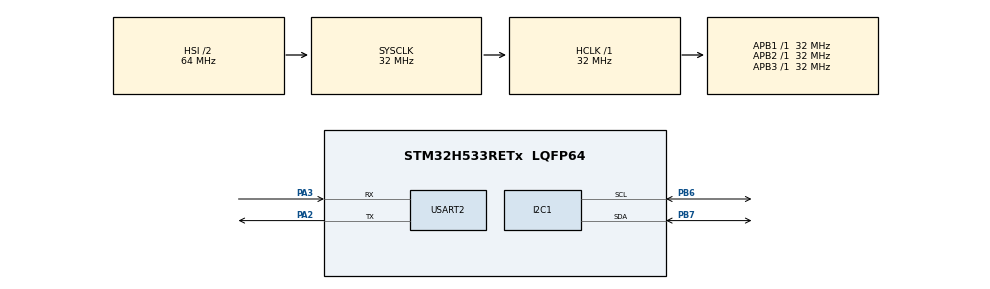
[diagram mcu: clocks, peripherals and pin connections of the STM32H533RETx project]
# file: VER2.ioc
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BOOTPATH.BootPathName=LEGACY
BOOTPATH.UserSelectedBootPath=LEGACY
CORTEX_M33_NS.Number-Cortex_Memory_Protection_Unit_Region0_OTP_RO_AREAS_Settings=MPU_REGION_NUMBER0
CORTEX_M33_NS.default_mode_Activation=1
CORTEX_M33_NS.userName=CORTEX_M33
I2C1.Timing=0x00707CBB
Mcu.Family=STM32H5
Mcu.Name=STM32H533RETx
Mcu.Package=LQFP64
NUCLEO-H533RE.LD4=true
NUCLEO-H533RE.VCP=false
NVIC.PriorityGroup=NVIC_PRIORITYGROUP_4
NVIC.TIM6_IRQn=true\:15\:0\:false\:false\:true\:false\:true\:true
NVIC.TimeBase=TIM6_IRQn
NVIC.TimeBaseIP=TIM6
PA13(JTMS/SWDIO).GPIO_Label=SWDIO
PA13(JTMS/SWDIO).Signal=DEBUG_JTMS-SWDIO
PA14(JTCK/SWCLK).GPIO_Label=SWCLK
PA14(JTCK/SWCLK).Signal=DEBUG_JTCK-SWCLK
PA15(JTDI).GPIO_Label=JTDI
PA15(JTDI).Signal=DEBUG_JTDI
PA2.Mode=Asynchronous
PA2.Signal=USART2_TX
PA3.Mode=Asynchronous
PA3.Signal=USART2_RX
PB3(JTDO/TRACESWO).GPIO_Label=SWO
PB3(JTDO/TRACESWO).Signal=DEBUG_JTDO-SWO
PB6.Mode=I2C
PB6.Signal=I2C1_SCL
PB7.Mode=I2C
PB7.Signal=I2C1_SDA
ProjectManager.HeapSize=0x800
ProjectManager.StackSize=0x800
ProjectManager.TargetToolchain=STM32CubeIDE
RCC.ADCFreq_Value=32000000
RCC.AHBFreq_Value=32000000
RCC.APB1Freq_Value=32000000
RCC.APB1TimFreq_Value=32000000
RCC.APB2Freq_Value=32000000
RCC.APB2TimFreq_Value=32000000
RCC.APB3Freq_Value=32000000
RCC.CSI_VALUE=4000000
RCC.CortexFreq_Value=32000000
RCC.EPOD_VALUE=4000000
RCC.HCLKFreq_Value=32000000
RCC.HSE_VALUE=25000000
RCC.HSI48_VALUE=48000000
RCC.HSI_VALUE=64000000
RCC.LSE_VALUE=32768
RCC.LSIRC_VALUE=32000
RCC.SYSCLKFreq_VALUE=32000000
RCC.USBFreq_Value=48000000
RCC.VCOOutputFreq_Value=516000000
STMicroelectronics.X-CUBE-AI.10.2.1.ActivationBufferSizeList=2084
STMicroelectronics.X-CUBE-AI.10.2.1.ActivationBuffers=pool0
STMicroelectronics.X-CUBE-AI.10.2.1.ActivationNames=pool0
STMicroelectronics.X-CUBE-AI.10.2.1.ActivationSizes=AI_NETWORK_DATA_ACTIVATION_1_SIZE
STMicroelectronics.X-CUBE-AI.10.2.1.HeapSize=0x800
STMicroelectronics.X-CUBE-AI.10.2.1.InternalRamActivationBufferMaxSize=AI_NETWORK_DATA_ACTIVATIONS_SIZE
STMicroelectronics.X-CUBE-AI.10.2.1.LatestDirectoryUsed-c2cbab47468941fe8e62ddce6ba15c5f00c6b9ef46d5aaf54abfcf6c1124a06f=/Users/dinapuspitasari/Downloads/ds/models
STMicroelectronics.X-CUBE-AI.10.2.1.MaximumNumberOfInputLayer=1
STMicroelectronics.X-CUBE-AI.10.2.1.MaximumNumberOfOutputLayer=1
STMicroelectronics.X-CUBE-AI.10.2.1.MaximumSizeOfInputLayer=1
STMicroelectronics.X-CUBE-AI.10.2.1.MaximumSizeOfOutputLayer=1
STMicroelectronics.X-CUBE-AI.10.2.1.ModelActualCompression-c2cbab47468941fe8e62ddce6ba15c5f00c6b9ef46d5aaf54abfcf6c1124a06f=0.0
STMicroelectronics.X-CUBE-AI.10.2.1.ModelCompression-c2cbab47468941fe8e62ddce6ba15c5f00c6b9ef46d5aaf54abfcf6c1124a06f=None
STMicroelectronics.X-CUBE-AI.10.2.1.ModelFlashOccupation-c2cbab47468941fe8e62ddce6ba15c5f00c6b9ef46d5aaf54abfcf6c1124a06f=11924
STMicroelectronics.X-CUBE-AI.10.2.1.ModelHashList=c2cbab47468941fe8e62ddce6ba15c5f00c6b9ef46d5aaf54abfcf6c1124a06f
STMicroelectronics.X-CUBE-AI.10.2.1.ModelKind-c2cbab47468941fe8e62ddce6ba15c5f00c6b9ef46d5aaf54abfcf6c1124a06f=TFLITE
STMicroelectronics.X-CUBE-AI.10.2.1.ModelMacc-c2cbab47468941fe8e62ddce6ba15c5f00c6b9ef46d5aaf54abfcf6c1124a06f=344
STMicroelectronics.X-CUBE-AI.10.2.1.ModelName-c2cbab47468941fe8e62ddce6ba15c5f00c6b9ef46d5aaf54abfcf6c1124a06f=network
STMicroelectronics.X-CUBE-AI.10.2.1.ModelNameList=network
STMicroelectronics.X-CUBE-AI.10.2.1.ModelRamOccupation-c2cbab47468941fe8e62ddce6ba15c5f00c6b9ef46d5aaf54abfcf6c1124a06f=2084
STMicroelectronics.X-CUBE-AI.10.2.1.ModelStructureFile-c2cbab47468941fe8e62ddce6ba15c5f00c6b9ef46d5aaf54abfcf6c1124a06f=/Users/dinapuspitasari/Downloads/ds/models/A_6_16_8_3_int8.tflite
STMicroelectronics.X-CUBE-AI.10.2.1.ModelType-c2cbab47468941fe8e62ddce6ba15c5f00c6b9ef46d5aaf54abfcf6c1124a06f=STM32Cube.AI MCU runtime
STMicroelectronics.X-CUBE-AI.10.2.1.ReadyForCodeGeneration=true
STMicroelectronics.X-CUBE-AI.10.2.1.StackSize=0x800
STMicroelectronics.X-CUBE-AI.10.2.1.WorkingBufferStartAddrList=0xFFFFFFFF
STMicroelectronics.X-CUBE-AI.10.2.1.XAaCUBEAaAICcArtificialOoIntelligenceJjCore=true
STMicroelectronics.X-CUBE-AI.10.2.1.copyWeightToRam=false
STMicroelectronics.X-CUBE-AI.10.2.1.customLayerConfigEnabled=false
STMicroelectronics.X-CUBE-AI.10.2.1.noOnnxIoTranspose=false
STMicroelectronics.X-CUBE-AI.10.2.1.optimization=time
STMicroelectronics.X-CUBE-AI.10.2.1.useInputAllocation=true
STMicroelectronics.X-CUBE-AI.10.2.1.useOutputAllocation=true
USART2.VirtualMode-Asynchronous=VM_ASYNC
VP_BOOTPATH_VS_BOOTPATH.Mode=BP_Activate
VP_CORTEX_M33_NS_VS_Hclk.Mode=Hclk_Mode
VP_ICACHE_VS_ICACHE.Mode=DirectMappedCache
VP_MEMORYMAP_VS_MEMORYMAP.Mode=CurAppReg
VP_NUCLEO-H533RE_VS_BSP_COMMON.Mode=COMMON
VP_PWR_VS_LPOM.Mode=PowerOptimisation
VP_PWR_VS_SECSignals.Mode=Security/Privilege
VP_STMicroelectronics.X-CUBE-AI_VS_ArtificialOoIntelligenceJjXAaCUBEAaAI_10.2.1.Mode=ArtificialOoIntelligenceJjXAaCUBEAaAI
VP_SYS_VS_tim6.Mode=TIM6
board=NUCLEO-H533RE

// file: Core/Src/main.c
/* USER CODE BEGIN Header */
/**
  ******************************************************************************
  * @file           : main.c
  * @brief          : MPU accelerometer-only acquisition at 100 Hz
  ******************************************************************************
  * @attention
  *
  * Baseline sebelum integrasi micro T-Kernel:
  * - HAL timebase menggunakan TIM6
  * - Accelerometer X/Y/Z saja
  * - Gyroscope dinonaktifkan melalui PWR_MGMT_2
  * - Akuisisi 100 Hz
  * - UART CSV 10 Hz
  * - Tidak menggunakan fungsi formatted-output
  ******************************************************************************
  */
/* USER CODE END Header */
#include "main.h"
#include "i2c.h"
#include "icache.h"
#include "usart.h"
#include "gpio.h"

/* USER CODE BEGIN PTD */

/**
  * @brief Data mentah accelerometer 3-sumbu.
  */
typedef struct
{
  int16_t x;
  int16_t y;
  int16_t z;

} MPU_AccelRaw_t;

/**
  * @brief Offset kalibrasi accelerometer.
  */
typedef struct
{
  int32_t x_offset;
  int32_t y_offset;
  int32_t z_offset;

} MPU_AccelCalibration_t;

/* USER CODE END PTD */

/* USER CODE BEGIN PD */

/* Alamat I2C HAL: alamat 7-bit digeser satu bit ke kiri. */
#define MPU_ADDR                         (0x68U << 1)

/* Register sensor kompatibel MPU. */
#define MPU_REG_SMPLRT_DIV               0x19U
#define MPU_REG_CONFIG                   0x1AU
#define MPU_REG_ACCEL_CONFIG             0x1CU
#define MPU_REG_ACCEL_XOUT_H             0x3BU
#define MPU_REG_PWR_MGMT_1               0x6BU
#define MPU_REG_PWR_MGMT_2               0x6CU
#define MPU_REG_WHO_AM_I                 0x75U

/* Sensitivitas accelerometer pada rentang +/-2 g. */
#define MPU_ACCEL_LSB_PER_G              16384L

/* Kalibrasi 1000 sampel pada 100 Hz: sekitar 10-11 detik. */
#define MPU_CALIBRATION_SAMPLE_COUNT     1000U

/* Sampling utama 100 Hz. */
#define MPU_SAMPLE_PERIOD_MS             10U

/* UART dicetak setiap 10 sampel: sekitar 10 Hz. */
#define MPU_UART_PRINT_DIVIDER           10U

/* Timeout transaksi I2C. */
#define MPU_I2C_TIMEOUT_MS               20U

/* USER CODE END PD */

void SystemClock_Config(void);
static void MPU_Config(void);
/* USER CODE BEGIN PFP */

void knl_start_mtkernel(void);

/* USER CODE END PFP */

/* USER CODE BEGIN 0 */

/**
  * @brief Mengirim string melalui USART2.
  */
static void UART_Print(const char *text)
{
  uint16_t length = 0U;

  if (text == NULL)
  {
    return;
  }

  while ((text[length] != '\0') &&
         (length < 1000U))
  {
    length++;
  }

  if (length > 0U)
  {
    (void)HAL_UART_Transmit(
        &huart2,
        (uint8_t *)text,
        length,
        200U
    );
  }
}

/**
  * @brief Mengirim satu karakter melalui USART2.
  */
static void UART_PrintChar(char character)
{
  (void)HAL_UART_Transmit(
      &huart2,
      (uint8_t *)&character,
      1U,
      50U
  );
}

/**
  * @brief Mengirim bilangan unsigned 32-bit dalam format desimal.
  */
static void UART_PrintUInt32(uint32_t value)
{
  char digits[10];
  uint32_t index = 0U;

  if (value == 0U)
  {
    UART_PrintChar('0');
    return;
  }

  while ((value > 0U) &&
         (index < sizeof(digits)))
  {
    digits[index] =
        (char)('0' + (value % 10U));

    value /= 10U;
    index++;
  }

  while (index > 0U)
  {
    index--;
    UART_PrintChar(digits[index]);
  }
}

/**
  * @brief Mengirim bilangan signed 32-bit dalam format desimal.
  */
static void UART_PrintInt32(int32_t value)
{
  uint32_t magnitude;

  if (value < 0)
  {
    UART_PrintChar('-');

    /*
     * Konversi ini tetap aman untuk INT32_MIN.
     */
    magnitude =
        (uint32_t)(-(value + 1)) + 1U;
  }
  else
  {
    magnitude = (uint32_t)value;
  }

  UART_PrintUInt32(magnitude);
}

/**
  * @brief Mengirim satu byte sebagai dua digit heksadesimal.
  */
static void UART_PrintHex8(uint8_t value)
{
  static const char hex_digits[] =
      "0123456789ABCDEF";

  UART_Print("0x");
  UART_PrintChar(
      hex_digits[(value >> 4U) & 0x0FU]
  );
  UART_PrintChar(
      hex_digits[value & 0x0FU]
  );
}

/**
  * @brief Mengirim nama status HAL.
  */
static void UART_PrintHALStatus(
    HAL_StatusTypeDef status
)
{
  switch (status)
  {
    case HAL_OK:
      UART_Print("HAL_OK");
      break;

    case HAL_ERROR:
      UART_Print("HAL_ERROR");
      break;

    case HAL_BUSY:
      UART_Print("HAL_BUSY");
      break;

    case HAL_TIMEOUT:
      UART_Print("HAL_TIMEOUT");
      break;

    default:
      UART_Print("HAL_STATUS_UNKNOWN");
      break;
  }
}

/**
  * @brief Menulis satu register sensor.
  */
static HAL_StatusTypeDef MPU_WriteRegister(
    uint8_t register_address,
    uint8_t value
)
{
  return HAL_I2C_Mem_Write(
      &hi2c1,
      MPU_ADDR,
      register_address,
      I2C_MEMADD_SIZE_8BIT,
      &value,
      1U,
      MPU_I2C_TIMEOUT_MS
  );
}

/**
  * @brief Membaca satu register sensor.
  */
static HAL_StatusTypeDef MPU_ReadRegister(
    uint8_t register_address,
    uint8_t *value
)
{
  if (value == NULL)
  {
    return HAL_ERROR;
  }

  return HAL_I2C_Mem_Read(
      &hi2c1,
      MPU_ADDR,
      register_address,
      I2C_MEMADD_SIZE_8BIT,
      value,
      1U,
      MPU_I2C_TIMEOUT_MS
  );
}

/**
  * @brief Menggabungkan dua byte menjadi signed 16-bit.
  */
static int16_t MPU_CombineBytes(
    uint8_t high_byte,
    uint8_t low_byte
)
{
  uint16_t combined_value;

  combined_value =
      ((uint16_t)high_byte << 8U) |
      (uint16_t)low_byte;

  return (int16_t)combined_value;
}

/**
  * @brief Membaca enam byte accelerometer X/Y/Z.
  */
static HAL_StatusTypeDef MPU_ReadAccelRaw(
    MPU_AccelRaw_t *data
)
{
  uint8_t buffer[6];
  HAL_StatusTypeDef status;

  if (data == NULL)
  {
    return HAL_ERROR;
  }

  status = HAL_I2C_Mem_Read(
      &hi2c1,
      MPU_ADDR,
      MPU_REG_ACCEL_XOUT_H,
      I2C_MEMADD_SIZE_8BIT,
      buffer,
      sizeof(buffer),
      MPU_I2C_TIMEOUT_MS
  );

  if (status != HAL_OK)
  {
    return status;
  }

  data->x =
      MPU_CombineBytes(
          buffer[0],
          buffer[1]
      );

  data->y =
      MPU_CombineBytes(
          buffer[2],
          buffer[3]
      );

  data->z =
      MPU_CombineBytes(
          buffer[4],
          buffer[5]
      );

  return HAL_OK;
}

/**
  * @brief Inisialisasi sensor untuk accelerometer-only.
  */
static HAL_StatusTypeDef MPU_InitAccelOnly(
    uint8_t *who_am_i
)
{
  HAL_StatusTypeDef status;

  if (who_am_i == NULL)
  {
    return HAL_ERROR;
  }

  status = HAL_I2C_IsDeviceReady(
      &hi2c1,
      MPU_ADDR,
      3U,
      100U
  );

  if (status != HAL_OK)
  {
    return status;
  }

  status = MPU_ReadRegister(
      MPU_REG_WHO_AM_I,
      who_am_i
  );

  if (status != HAL_OK)
  {
    return status;
  }

  /*
   * 0x68 adalah identitas MPU6050 standar.
   * 0x72 tetap diterima karena modul pengguna
   * sudah terbukti mendukung register accelerometer.
   */
  if ((*who_am_i != 0x68U) &&
      (*who_am_i != 0x72U))
  {
    return HAL_ERROR;
  }

  /*
   * Keluar dari sleep mode.
   */
  status = MPU_WriteRegister(
      MPU_REG_PWR_MGMT_1,
      0x00U
  );

  if (status != HAL_OK)
  {
    return status;
  }

  HAL_Delay(100U);

  /*
   * DLPF configuration 3.
   */
  status = MPU_WriteRegister(
      MPU_REG_CONFIG,
      0x03U
  );

  if (status != HAL_OK)
  {
    return status;
  }

  /*
   * Dengan keluaran dasar 1 kHz dan divider 9:
   * 1000 / (1 + 9) = 100 Hz.
   */
  status = MPU_WriteRegister(
      MPU_REG_SMPLRT_DIV,
      0x09U
  );

  if (status != HAL_OK)
  {
    return status;
  }

  /*
   * Accelerometer +/-2 g.
   */
  status = MPU_WriteRegister(
      MPU_REG_ACCEL_CONFIG,
      0x00U
  );

  if (status != HAL_OK)
  {
    return status;
  }

  /*
   * Nonaktifkan gyroscope X/Y/Z.
   * STBY_XG, STBY_YG, STBY_ZG = 1.
   * Accelerometer tetap aktif.
   */
  status = MPU_WriteRegister(
      MPU_REG_PWR_MGMT_2,
      0x07U
  );

  if (status != HAL_OK)
  {
    return status;
  }

  HAL_Delay(100U);

  return HAL_OK;
}

/**
  * @brief Menghitung offset accelerometer saat startup.
  *
  * Sensor harus diletakkan rata dan tidak digerakkan.
  * Gravitasi +/-1 g pada sumbu Z tetap dipertahankan.
  */
static HAL_StatusTypeDef MPU_CalibrateAccel(
    MPU_AccelCalibration_t *calibration
)
{
  int64_t x_sum = 0;
  int64_t y_sum = 0;
  int64_t z_sum = 0;

  int32_t z_average;
  int32_t expected_z;

  MPU_AccelRaw_t sample;
  HAL_StatusTypeDef status;

  if (calibration == NULL)
  {
    return HAL_ERROR;
  }

  HAL_Delay(500U);

  for (uint32_t i = 0U;
       i < MPU_CALIBRATION_SAMPLE_COUNT;
       i++)
  {
    status = MPU_ReadAccelRaw(&sample);

    if (status != HAL_OK)
    {
      UART_Print(
          "Kalibrasi gagal pada sampel "
      );
      UART_PrintUInt32(i + 1U);
      UART_Print(": ");
      UART_PrintHALStatus(status);
      UART_Print("\r\n");

      return status;
    }

    x_sum += sample.x;
    y_sum += sample.y;
    z_sum += sample.z;

    HAL_Delay(MPU_SAMPLE_PERIOD_MS);

    /*
     * Tampilkan progres setiap 100 sampel.
     */
    if (((i + 1U) % 100U) == 0U)
    {
      UART_Print("Kalibrasi ");
      UART_PrintUInt32(
          ((i + 1U) * 100U) /
          MPU_CALIBRATION_SAMPLE_COUNT
      );
      UART_Print("%\r\n");
    }
  }

  calibration->x_offset =
      (int32_t)(
          x_sum /
          MPU_CALIBRATION_SAMPLE_COUNT
      );

  calibration->y_offset =
      (int32_t)(
          y_sum /
          MPU_CALIBRATION_SAMPLE_COUNT
      );

  z_average =
      (int32_t)(
          z_sum /
          MPU_CALIBRATION_SAMPLE_COUNT
      );

  if (z_average >= 0)
  {
    expected_z =
        MPU_ACCEL_LSB_PER_G;
  }
  else
  {
    expected_z =
        -MPU_ACCEL_LSB_PER_G;
  }

  calibration->z_offset =
      z_average - expected_z;

  return HAL_OK;
}

/**
  * @brief Mencetak satu baris CSV accelerometer.
  */
static void UART_PrintAccelCsv(
    uint32_t time_ms,
    int32_t accel_x_mg,
    int32_t accel_y_mg,
    int32_t accel_z_mg,
    uint32_t sample_counter,
    uint32_t read_error_counter,
    uint32_t overrun_counter
)
{
  UART_PrintUInt32(time_ms);
  UART_PrintChar(',');

  UART_PrintInt32(accel_x_mg);
  UART_PrintChar(',');

  UART_PrintInt32(accel_y_mg);
  UART_PrintChar(',');

  UART_PrintInt32(accel_z_mg);
  UART_PrintChar(',');

  UART_PrintUInt32(sample_counter);
  UART_PrintChar(',');

  UART_PrintUInt32(read_error_counter);
  UART_PrintChar(',');

  UART_PrintUInt32(overrun_counter);
  UART_Print("\r\n");
}

/* USER CODE END 0 */

int main(void)
{

  /* USER CODE BEGIN 1 */

	/* Belum ada variabel aplikasi.
	 * Aplikasi akan dijalankan dari usermain.c.
	 */

  /* USER CODE END 1 */

  /* MCU Configuration--------------------------------------------------------*/

  /* MPU Configuration--------------------------------------------------------*/
  MPU_Config();

  /* Reset of all peripherals, Initializes the Flash interface and the Systick. */
  HAL_Init();

  /* Configure the system clock */
  SystemClock_Config();

  /* Initialize all configured peripherals */
  MX_GPIO_Init();
  MX_I2C1_Init();
  MX_ICACHE_Init();
  MX_USART2_UART_Init();
  /* USER CODE BEGIN 2 */

  knl_start_mtkernel();

  /*
   * Normalnya fungsi kernel tidak kembali.
   */
  Error_Handler();

  /* USER CODE END 2 */

  /* Initialize leds */
  BSP_LED_Init(LED_GREEN);

  /* Infinite loop */
  /* USER CODE BEGIN WHILE */

  while (1)
  {
    /* Tidak akan dicapai selama kernel berjalan. */

    /* USER CODE END WHILE */

  }
}

void SystemClock_Config(void)
{
  RCC_OscInitTypeDef RCC_OscInitStruct = {0};
  RCC_ClkInitTypeDef RCC_ClkInitStruct = {0};

  /** Configure the main internal regulator output voltage
  */
  __HAL_PWR_VOLTAGESCALING_CONFIG(PWR_REGULATOR_VOLTAGE_SCALE3);

  while(!__HAL_PWR_GET_FLAG(PWR_FLAG_VOSRDY)) {}

  /** Initializes the RCC Oscillators according to the specified parameters
  * in the RCC_OscInitTypeDef structure.
  */
  RCC_OscInitStruct.OscillatorType = RCC_OSCILLATORTYPE_HSI;
  RCC_OscInitStruct.HSIState = RCC_HSI_ON;
  RCC_OscInitStruct.HSIDiv = RCC_HSI_DIV2;
  RCC_OscInitStruct.HSICalibrationValue = RCC_HSICALIBRATION_DEFAULT;
  RCC_OscInitStruct.PLL.PLLState = RCC_PLL_NONE;
  if (HAL_RCC_OscConfig(&RCC_OscInitStruct) != HAL_OK)
  {
    Error_Handler();
  }

  /** Initializes the CPU, AHB and APB buses clocks
  */
  RCC_ClkInitStruct.ClockType = RCC_CLOCKTYPE_HCLK|RCC_CLOCKTYPE_SYSCLK
                              |RCC_CLOCKTYPE_PCLK1|RCC_CLOCKTYPE_PCLK2
                              |RCC_CLOCKTYPE_PCLK3;
  RCC_ClkInitStruct.SYSCLKSource = RCC_SYSCLKSOURCE_HSI;
  RCC_ClkInitStruct.AHBCLKDivider = RCC_SYSCLK_DIV1;
  RCC_ClkInitStruct.APB1CLKDivider = RCC_HCLK_DIV1;
  RCC_ClkInitStruct.APB2CLKDivider = RCC_HCLK_DIV1;
  RCC_ClkInitStruct.APB3CLKDivider = RCC_HCLK_DIV1;

  if (HAL_RCC_ClockConfig(&RCC_ClkInitStruct, FLASH_LATENCY_1) != HAL_OK)
  {
    Error_Handler();
  }

  /** Configure the programming delay
  */
  __HAL_FLASH_SET_PROGRAM_DELAY(FLASH_PROGRAMMING_DELAY_0);
}

 /* MPU Configuration */

void MPU_Config(void)
{
  MPU_Region_InitTypeDef MPU_InitStruct = {0};
  MPU_Attributes_InitTypeDef MPU_AttributesInit = {0};

  /* Disables the MPU */
  HAL_MPU_Disable();

  /** Initializes and configures the Region 0 and the memory to be protected
  */
  MPU_InitStruct.Enable = MPU_REGION_ENABLE;
  MPU_InitStruct.Number = MPU_REGION_NUMBER0;
  MPU_InitStruct.BaseAddress = 0x08FFF000;
  MPU_InitStruct.LimitAddress = 0x08FFFFFF;
  MPU_InitStruct.AttributesIndex = MPU_ATTRIBUTES_NUMBER0;
  MPU_InitStruct.AccessPermission = MPU_REGION_ALL_RO;
  MPU_InitStruct.DisableExec = MPU_INSTRUCTION_ACCESS_DISABLE;
  MPU_InitStruct.IsShareable = MPU_ACCESS_NOT_SHAREABLE;

  HAL_MPU_ConfigRegion(&MPU_InitStruct);

  /** Initializes and configures the Attribute 0 and the memory to be protected
  */
  MPU_AttributesInit.Number = MPU_ATTRIBUTES_NUMBER0;
  MPU_AttributesInit.Attributes = INNER_OUTER(MPU_NOT_CACHEABLE);

  HAL_MPU_ConfigMemoryAttributes(&MPU_AttributesInit);
  /* Enables the MPU */
  HAL_MPU_Enable(MPU_PRIVILEGED_DEFAULT);

}

void HAL_TIM_PeriodElapsedCallback(TIM_HandleTypeDef *htim)
{
  if (htim->Instance == TIM6)
  {
    HAL_IncTick();
  }
}

void Error_Handler(void)
{
  __disable_irq();
  while (1)
  {
  }
}
